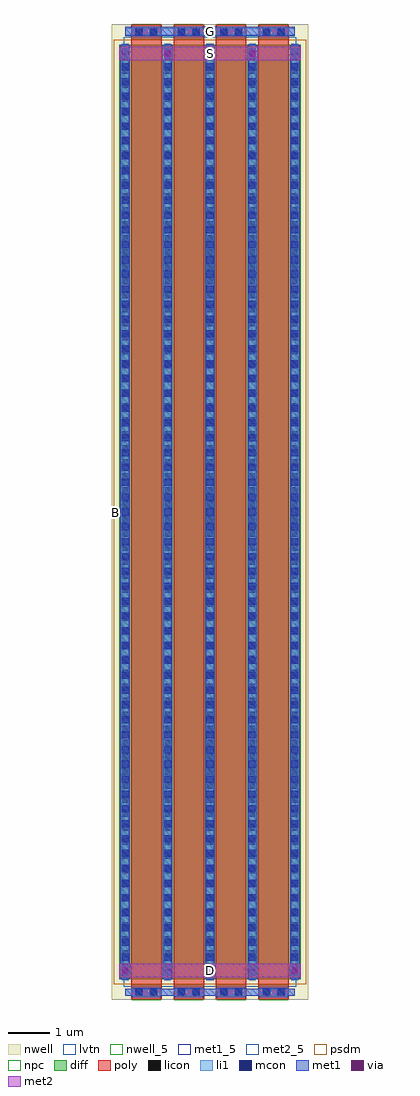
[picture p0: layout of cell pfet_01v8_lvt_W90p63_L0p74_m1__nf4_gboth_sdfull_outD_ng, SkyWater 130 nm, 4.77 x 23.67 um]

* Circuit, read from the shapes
.subckt pfet_01v8_lvt_W90p63_L0p74_m1__nf4_gboth_sdfull_outD_ng B D G S
XM1 S G D B sky130_fd_pr__pfet_01v8_lvt w=22.66 l=0.74 m=4
.ends

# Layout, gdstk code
import gdstk
lib = gdstk.Library(unit=1e-6, precision=1e-09)
def R(c, l, rs):  # rectangles x0, y0, x1, y1
    for r in rs: c.add(gdstk.rectangle(r[:2], r[2:], *l))
def A(c, l, x, y, w, h, nx, ny, dx, dy):  # array of equal rectangles
    R(c, l, [(x+i*dx, y+j*dy, x+i*dx+w, y+j*dy+h) for i in range(nx) for j in range(ny)])
nwell_5 = (64, 5)
nwell = (64, 20)
diff = (65, 20)
poly = (66, 20)
licon = (66, 44)
li1 = (67, 20)
mcon = (67, 44)
met1_5 = (68, 5)
met1 = (68, 20)
via = (68, 44)
met2_5 = (69, 5)
met2 = (69, 20)
psdm = (94, 20)
npc = (95, 20)
lvtn = (125, 44)

sky130_fd_pr__pfet_01v8_ = lib.new_cell('sky130_fd_pr__pfet_01v8_lvt_XC2E2L')
R(sky130_fd_pr__pfet_01v8_, nwell, [(-2.385,-11.83,2.385,11.83)])
R(sky130_fd_pr__pfet_01v8_, diff, [(-2.205,-11.33,2.205,11.33)])
A(sky130_fd_pr__pfet_01v8_, poly, -1.915, -11.815, 0.74, 23.63, 4, 1, 1.03, 0)
A(sky130_fd_pr__pfet_01v8_, licon, -2.145, -11.135, 0.17, 0.17, 5, 66, 1.03, 0.34)
R(sky130_fd_pr__pfet_01v8_, licon, [(-1.8,-11.735,-1.63,-11.565), (-1.46,-11.735,-1.29,-11.565), (-0.77,-11.735,-0.6,-11.565), (-0.43,-11.735,-0.26,-11.565), (0.26,-11.735,0.43,-11.565), (0.6,-11.735,0.77,-11.565), (1.29,-11.735,1.46,-11.565), (1.63,-11.735,1.8,-11.565), (-1.8,11.565,-1.63,11.735), (-1.46,11.565,-1.29,11.735), (-0.77,11.565,-0.6,11.735), (-0.43,11.565,-0.26,11.735), (0.26,11.565,0.43,11.735), (0.6,11.565,0.77,11.735), (1.29,11.565,1.46,11.735), (1.63,11.565,1.8,11.735)])
A(sky130_fd_pr__pfet_01v8_, li1, -2.145, -11.35, 0.17, 22.7, 5, 1, 1.03, 0)
R(sky130_fd_pr__pfet_01v8_, li1, [(-2.06,-11.735,2.06,-11.565), (-2.06,11.565,2.06,11.735)])
A(sky130_fd_pr__pfet_01v8_, mcon, -2.145, -11.245, 0.17, 0.17, 5, 63, 1.03, 0.36)
R(sky130_fd_pr__pfet_01v8_, mcon, [(-1.81,-11.735,-1.64,-11.565), (-1.45,-11.735,-1.28,-11.565), (-0.78,-11.735,-0.61,-11.565), (-0.42,-11.735,-0.25,-11.565), (0.25,-11.735,0.42,-11.565), (0.61,-11.735,0.78,-11.565), (1.28,-11.735,1.45,-11.565), (1.64,-11.735,1.81,-11.565), (-1.81,11.565,-1.64,11.735), (-1.45,11.565,-1.28,11.735), (-0.78,11.565,-0.61,11.735), (-0.42,11.565,-0.25,11.735), (0.25,11.565,0.42,11.735), (0.61,11.565,0.78,11.735), (1.28,11.565,1.45,11.735), (1.64,11.565,1.81,11.735)])
A(sky130_fd_pr__pfet_01v8_, met1, -1.895, -11.765, 0.7, 0.03, 4, 2, 1.03, 0.2)
A(sky130_fd_pr__pfet_01v8_, met1, -2.175, -11.33, 0.23, 22.66, 5, 1, 1.03, 0)
A(sky130_fd_pr__pfet_01v8_, met1, -1.895, 11.535, 0.7, 0.03, 4, 2, 1.03, 0.2)
R(sky130_fd_pr__pfet_01v8_, met1, [(-2.06,-11.735,2.06,-11.565), (-2.06,11.565,2.06,11.735)])
R(sky130_fd_pr__pfet_01v8_, psdm, [(-2.33,-11.455,2.33,11.455)])
A(sky130_fd_pr__pfet_01v8_, npc, -1.9, -11.835, 0.71, 0.37, 4, 2, 1.03, 23.3)
R(sky130_fd_pr__pfet_01v8_, lvtn, [(-2.095,-11.51,2.095,11.51)])
sky130_fd_pr__pfet_01v8_.add(gdstk.Label('D0', (-2.06,0), layer=67, texttype=5))
sky130_fd_pr__pfet_01v8_.add(gdstk.Label('G', (1.545,11.65), layer=67, texttype=5))
sky130_fd_pr__pfet_01v8_.add(gdstk.Label('G', (0.515,11.65), layer=67, texttype=5))
sky130_fd_pr__pfet_01v8_.add(gdstk.Label('G', (-0.515,11.65), layer=67, texttype=5))
sky130_fd_pr__pfet_01v8_.add(gdstk.Label('G', (-1.545,11.65), layer=67, texttype=5))
sky130_fd_pr__pfet_01v8_.add(gdstk.Label('S1', (-1.03,0), layer=67, texttype=5))
sky130_fd_pr__pfet_01v8_.add(gdstk.Label('D2', (0,0), layer=67, texttype=5))
sky130_fd_pr__pfet_01v8_.add(gdstk.Label('S3', (1.03,0), layer=67, texttype=5))

pfet_01v8_lvt_w90p63_l0p = lib.new_cell('pfet_01v8_lvt_W90p63_L0p74_m1__nf4_gboth_sdfull_outD_ng')
R(pfet_01v8_lvt_w90p63_l0p, nwell_5, [(0.05,11.78,0.15,11.88)])
R(pfet_01v8_lvt_w90p63_l0p, nwell, [(0.05,11.78,0.15,11.88)])
R(pfet_01v8_lvt_w90p63_l0p, met1_5, [(0.325,23.365,4.445,23.595)])
A(pfet_01v8_lvt_w90p63_l0p, met1, 0.195, 0.55, 0.26, 0.32, 3, 1, 2.06, 0)
R(pfet_01v8_lvt_w90p63_l0p, met1, [(1.225,22.79,1.485,23.11), (3.285,22.79,3.545,23.11), (0.325,23.365,4.445,23.595)])
A(pfet_01v8_lvt_w90p63_l0p, via, 0.25, 0.635, 0.15, 0.15, 3, 1, 2.06, 0)
R(pfet_01v8_lvt_w90p63_l0p, via, [(1.28,22.875,1.43,23.025), (3.34,22.875,3.49,23.025)])
R(pfet_01v8_lvt_w90p63_l0p, met2_5, [(0.19,0.55,4.58,0.87), (0.19,22.79,4.58,23.11)])
R(pfet_01v8_lvt_w90p63_l0p, met2, [(0.19,0.55,4.58,0.87), (0.19,22.79,4.58,23.11)])
pfet_01v8_lvt_w90p63_l0p.add(gdstk.Reference(sky130_fd_pr__pfet_01v8_, (2.385,11.83)))
pfet_01v8_lvt_w90p63_l0p.add(gdstk.Label('S', (2.385,22.95), layer=69, texttype=5))
pfet_01v8_lvt_w90p63_l0p.add(gdstk.Label('D', (2.385,0.71), layer=69, texttype=5))
pfet_01v8_lvt_w90p63_l0p.add(gdstk.Label('G', (2.385,23.48), layer=68, texttype=5))
pfet_01v8_lvt_w90p63_l0p.add(gdstk.Label('B', (0.1,11.83), layer=64, texttype=5))

lib.write_gds('pfet_01v8_lvt_W90p63_L0p74_m1__nf4_gboth_sdfull_outD_ng.gds')
